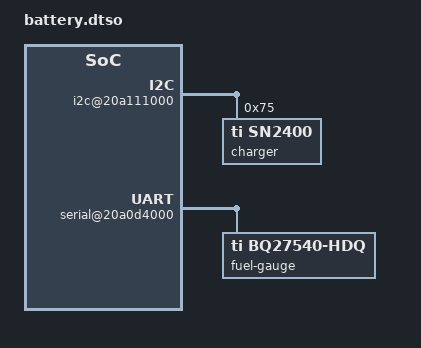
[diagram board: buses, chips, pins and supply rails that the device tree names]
/dts-v1/;
/plugin/;
/*
 * iPhone 6s (N71) battery fuel gauge, live-test overlay.
 *
 * Apply ONCE per boot and never remove it: removing a bound samsung-uart
 * overlay oopses the kernel (s3c24xx_serial_remove).
 *
 * The running DT has no __symbols__, so it uses raw phandles read from the
 * phone:
 *   0x01   aic
 *   0x05   clkref (24 MHz)
 *   0xf040 ps_uart5 (only after foundation's fnd_phandle module ran; check
 *          /proc/device-tree/soc/power-management@20e000000/power-controller@80200/phandle)
 * i2c1 already carries its pinctrl and ps_i2c1 references.
 * Build without -@ (the live tree has no /__symbols__ to merge into).
 */
/ {
	/* uart5 TX = pin 2, RX = pin 3 (iBoot leaves RX as a GPIO) */
	fragment@0 {
		target-path = "/soc/pinctrl@20f100000";
		__overlay__ {
			uart5_pins: uart5-pins {
				pinmux = <0x10002>, <0x10003>;
			};
		};
	};

	/* SN2400 "Tigris" charger: owns the switch in front of the HDQ line */
	fragment@1 {
		target-path = "/soc/i2c@20a111000";
		__overlay__ {
			status = "okay";

			charger: charger@75 {
				compatible = "ti,sn2400";
				reg = <0x75>;
				#mux-state-cells = <1>;
			};
		};
	};

	fragment@2 {
		target-path = "/soc";
		__overlay__ {
			serial@20a0d4000 {
				compatible = "apple,s5l-uart";
				reg = <0x2 0x0a0d4000 0x0 0x4000>;
				reg-io-width = <4>;
				interrupt-parent = <0x01>;
				interrupts = <0 197 4>;
				clocks = <0x05>, <0x05>;
				clock-names = "uart", "clk_uart_baud0";
				power-domains = <0xf040>;
				pinctrl-0 = <&uart5_pins>;
				pinctrl-names = "default";
				status = "okay";

				fuel-gauge {
					compatible = "ti,bq27540-hdq";
					/* state 1: line connected to the host */
					mux-states = <&charger 1>;
				};
			};
		};
	};
};
